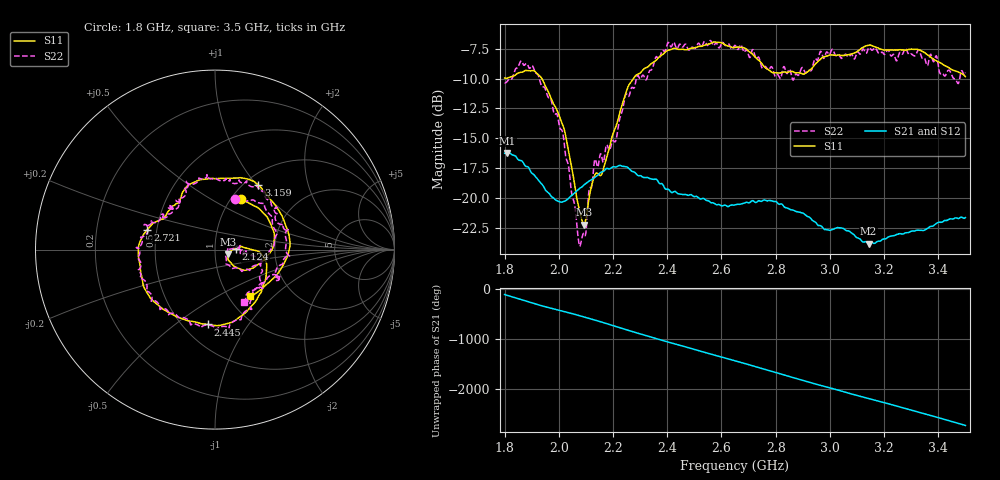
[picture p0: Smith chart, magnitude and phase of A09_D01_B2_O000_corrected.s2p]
! Created with skrf 1.9.0 (http://scikit-rf.org).
# Hz S RI R 50.0
!freq ReS11 ImS11 ReS21 ImS21 ReS12 ImS12 ReS22 ImS22
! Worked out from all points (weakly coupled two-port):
!   1601 points, 1.8 GHz to 3.5 GHz, reference 50 ohm
!   highest |S21| = -16.23 dB at 1.811 GHz (marker M1); lowest = -23.8 dB at 3.143 GHz (marker M2)
!   lowest |S11| = -22.3 dB at 2.092 GHz (marker M3), VSWR 1.17, Z = 57.8 - j2.92 ohm
!   |S11| at or under -10 dB: 1.937 GHz to 2.275 GHz (337.6 MHz wide, 16 % of centre)
!   |S22| runs from -24.0 to -6.8 dB; largest |S21 - S12| = 0.003
!   S11 on the Smith chart (normalised r, x): 1.8 GHz: 1.11, +0.70; 2.124 GHz: 1.26, +0.01; 2.445 GHz: 0.66, -0.66; 2.721 GHz: 0.44, +0.12; 3.159 GHz: 1.15, +1.02; 3.5 GHz: 1.26, -0.72
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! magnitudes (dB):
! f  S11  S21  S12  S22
! 1.8 GHz  -10.0  -16.3  -16.3  -10.3
! 1.811 GHz  -10.0  -16.2  -16.2  -10.2
! 1.88 GHz  -9.3  -17.4  -17.4  -8.7
! 1.968 GHz  -11.5  -19.7  -19.8  -11.6
! 2.02 GHz  -14.3  -20.3  -20.3  -15.5
! 2.072 GHz  -20.6  -19.3  -19.3  -23.5
! 2.084 GHz  -21.7  -19.1  -19.1  -23.5
! 2.092 GHz  -22.3  -18.9  -19.0  -23.0
! 2.124 GHz  -18.7  -18.4  -18.4  -18.6
! 2.162 GHz  -17.8  -17.8  -17.7  -17.0
! 2.209 GHz  -14.1  -17.4  -17.4  -15.3
! 2.259 GHz  -10.5  -17.5  -17.5  -11.5
! 2.367 GHz  -8.3  -18.7  -18.6  -8.3
! 2.445 GHz  -7.6  -19.7  -19.7  -7.1
! 2.65 GHz  -7.4  -20.6  -20.6  -7.2
! 2.721 GHz  -8.1  -20.3  -20.2  -7.9
! 2.812 GHz  -9.5  -20.5  -20.4  -9.8
! 2.934 GHz  -9.1  -21.8  -21.8  -9.2
! 3.143 GHz  -7.2  -23.8  -23.7  -7.4
! 3.159 GHz  -7.3  -23.8  -23.7  -7.6
! 3.217 GHz  -7.6  -23.3  -23.2  -7.7
! 3.5 GHz  -9.8  -21.7  -21.6  -9.5
